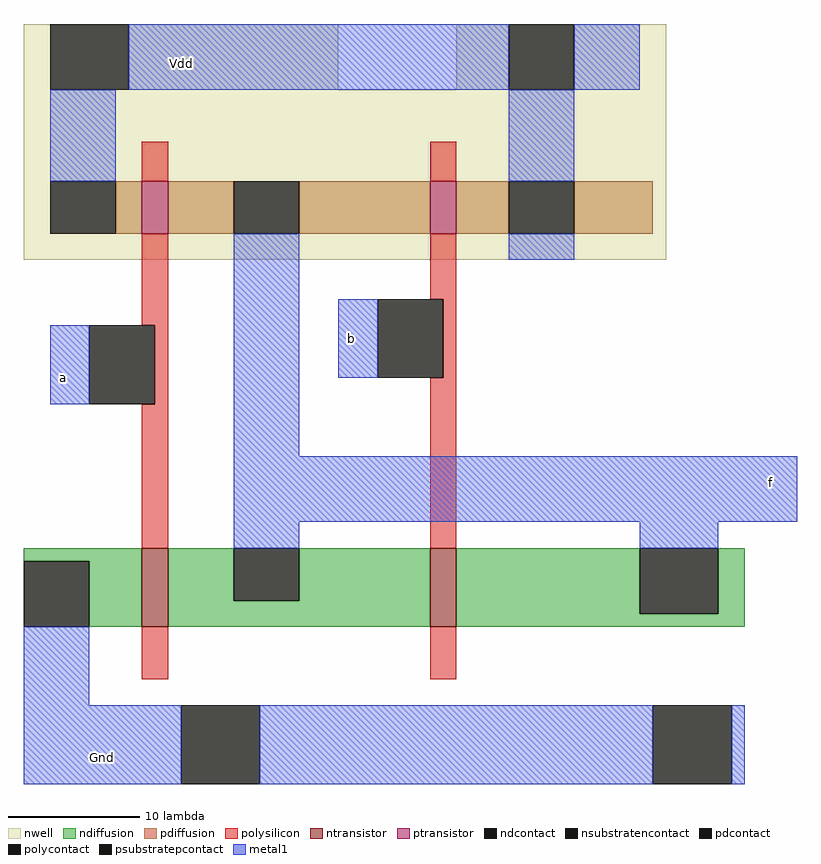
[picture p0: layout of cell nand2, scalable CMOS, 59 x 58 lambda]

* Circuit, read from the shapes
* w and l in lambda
.subckt nand2 Gnd Vdd a b f
M1 f a Gnd Gnd nfet w=6 l=2
M2 f b f Gnd nfet w=6 l=2
M3 f a Vdd Vdd pfet w=4 l=2
M4 Vdd b f Vdd pfet w=4 l=2
.ends

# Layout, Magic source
magic
tech scmos
<< nwell >>
rect -15 15 9 20
rect 18 15 34 20
rect -15 2 34 15
<< polysilicon >>
rect -6 8 -4 11
rect 16 8 18 11
rect -6 -3 -4 4
rect 16 -1 18 4
rect -5 -9 -4 -3
rect 17 -7 18 -1
rect -6 -20 -4 -9
rect 16 -20 18 -7
rect -6 -30 -4 -26
rect 16 -30 18 -26
<< ndiffusion >>
rect -15 -21 -6 -20
rect -10 -26 -6 -21
rect -4 -24 1 -20
rect 6 -24 16 -20
rect -4 -26 16 -24
rect 18 -25 32 -20
rect 38 -25 40 -20
rect 18 -26 40 -25
<< pdiffusion >>
rect -8 4 -6 8
rect -4 4 1 8
rect 6 4 16 8
rect 18 4 22 8
rect 27 4 33 8
<< metal1 >>
rect -7 15 22 20
rect 27 15 32 20
rect -13 8 -8 15
rect 22 8 27 15
rect -13 -9 -10 -3
rect 1 -13 6 4
rect 22 2 27 4
rect 9 -7 12 -1
rect 1 -18 44 -13
rect 1 -20 6 -18
rect 32 -20 38 -18
rect -15 -32 -10 -26
rect -15 -38 -3 -32
rect 3 -38 33 -32
rect 39 -38 40 -32
<< ntransistor >>
rect -6 -26 -4 -20
rect 16 -26 18 -20
<< ptransistor >>
rect -6 4 -4 8
rect 16 4 18 8
<< polycontact >>
rect -10 -9 -5 -3
rect 12 -7 17 -1
<< ndcontact >>
rect -15 -26 -10 -21
rect 1 -24 6 -20
rect 32 -25 38 -20
<< pdcontact >>
rect -13 4 -8 8
rect 1 4 6 8
rect 22 4 27 8
<< psubstratepcontact >>
rect -3 -38 3 -32
rect 33 -38 39 -32
<< nsubstratencontact >>
rect -13 15 -7 20
rect 22 15 27 20
<< labels >>
rlabel metal1 -12 -7 -12 -7 3 a
rlabel metal1 10 -4 10 -4 1 b
rlabel metal1 -9 -36 -9 -36 1 Gnd
rlabel metal1 42 -15 42 -15 7 f
rlabel metal1 -3 17 -3 17 5 Vdd
<< end >>
